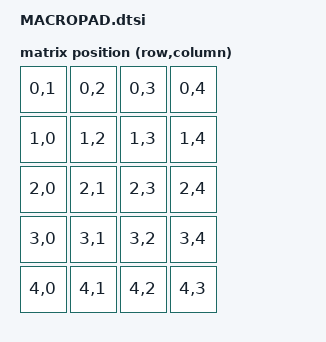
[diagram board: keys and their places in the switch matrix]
#include <physical_layouts.dtsi>
#include "position_map.dtsi"

/ {
    qaz_num_ble_macropad_layout: qaz_num_ble_macropad_layout {
        compatible = "zmk,physical-layout";
        display-name = "MACROPAD";
        
        keys  //                     w   h    x    y     rot    rx    ry
            = <&key_physical_attrs 100 100    0    0       0     0     0>
            , <&key_physical_attrs 100 100  100    0       0     0     0>
            , <&key_physical_attrs 100 100  200    0       0     0     0>
            , <&key_physical_attrs 100 100  300    0       0     0     0>
            , <&key_physical_attrs 100 100    0  100       0     0     0>
            , <&key_physical_attrs 100 100  100  100       0     0     0>
            , <&key_physical_attrs 100 100  200  100       0     0     0>
            , <&key_physical_attrs 100 100  300  100       0     0     0>
            , <&key_physical_attrs 100 100    0  200       0     0     0>
            , <&key_physical_attrs 100 100  100  200       0     0     0>
            , <&key_physical_attrs 100 100  200  200       0     0     0>
            , <&key_physical_attrs 100 100  300  200       0     0     0>
            , <&key_physical_attrs 100 100    0  300       0     0     0>
            , <&key_physical_attrs 100 100  100  300       0     0     0>
            , <&key_physical_attrs 100 100  200  300       0     0     0>
            , <&key_physical_attrs 100 100  300  300       0     0     0>
            , <&key_physical_attrs 100 100    0  400       0     0     0>
            , <&key_physical_attrs 100 100  100  400       0     0     0>
            , <&key_physical_attrs 100 100  200  400       0     0     0>
            , <&key_physical_attrs 100 100  300  400       0     0     0>
            ;
    };
    qaz_num_ble_macropad_transform: qaz_num_ble_macropad_transform {
        compatible = "zmk,matrix-transform";
        rows       = <5>;
        columns    = <5>;
        map = <
            /* row-0 */ RC(0,1) RC(0,2) RC(0,3) RC(0,4)
            /* row-1 */ RC(1,0) RC(1,2) RC(1,3) RC(1,4)
            /* row-2 */ RC(2,0) RC(2,1) RC(2,3) RC(2,4)
            /* row-3 */ RC(3,0) RC(3,1) RC(3,2) RC(3,4)
            /* row-4 */ RC(4,0) RC(4,1) RC(4,2) RC(4,3)
        >;
    };
};

&layouts_qaz_num_ble_position_map {
    qaz_num_ble_macropad_posmap: qaz_num_ble_macropad_posmap {
        physical-layout = <&qaz_num_ble_macropad_layout>;
            positions = < 11 12 13 14 15 16 17 18 19>;
    };
};
